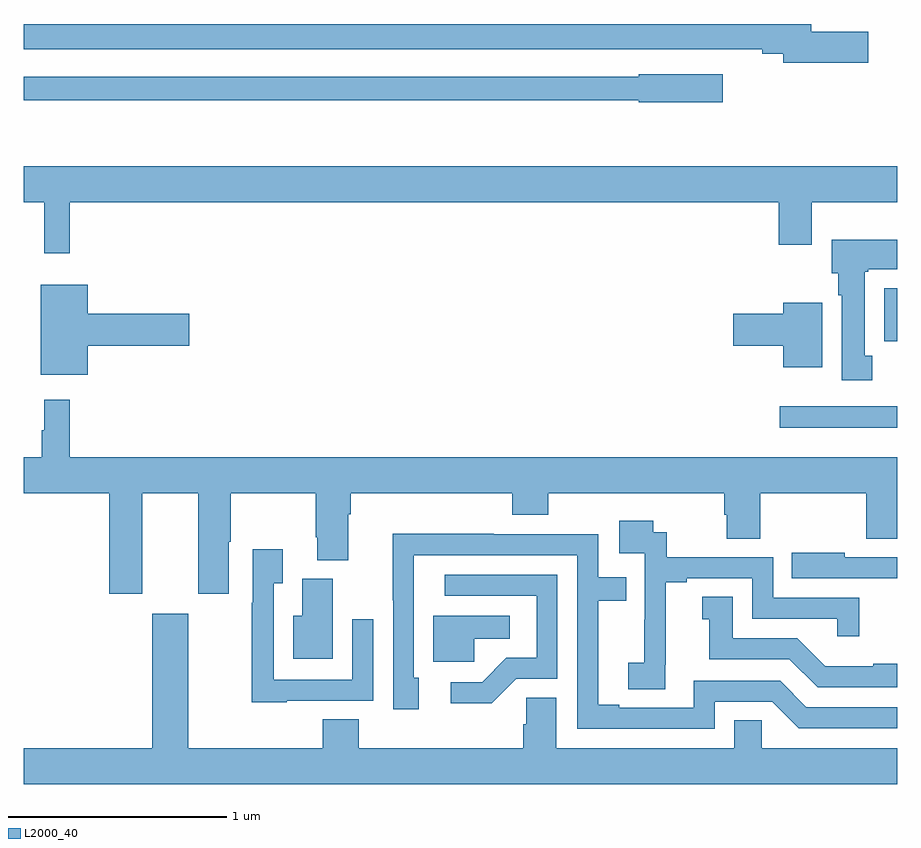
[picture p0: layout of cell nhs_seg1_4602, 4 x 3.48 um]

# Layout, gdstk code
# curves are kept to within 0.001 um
import gdstk
lib = gdstk.Library(unit=1e-6, precision=1e-09)
def R(c, l, rs):  # rectangles x0, y0, x1, y1
    for r in rs: c.add(gdstk.rectangle(r[:2], r[2:], *l))
def P(c, l, *ps):  # polygons
    for p in ps: c.add(gdstk.Polygon(p, *l))
L2000_40 = (2000, 40)

nhs_seg1_4602 = lib.new_cell('nhs_seg1_4602')
R(nhs_seg1_4602, L2000_40, [(364.461,528.056,365,528.153), (364.94,528.452,365,528.694)])
P(nhs_seg1_4602, L2000_40, [(364.867,529.868),(364.606,529.868),(364.606,529.904),(361,529.904),(361,529.788),(364.382,529.788),(364.382,529.768),(364.478,529.768),(364.478,529.726),(364.867,529.726)],
  [(364.201,529.675),(363.816,529.675),(363.816,529.662),(361,529.662),(361,529.554),(363.816,529.554),(363.816,529.546),(364.201,529.546)],
  [(361.211,529.088),(364.457,529.088),(364.457,528.894),(364.609,528.894),(364.609,529.088),(365,529.088),(365,529.252),(361,529.252),(361,529.088),(361.094,529.088),(361.094,528.855),(361.211,528.855)],
  [(364.885,528.386),(364.852,528.386),(364.852,528.769),(364.866,528.769),(364.866,528.782),(365,528.782),(365,528.916),(364.7,528.916),(364.7,528.762),(364.73,528.762),(364.73,528.662),(364.745,528.662),(364.745,528.273),(364.885,528.273)],
  [(361.294,528.431),(361.759,528.431),(361.759,528.578),(361.294,528.578),(361.294,528.709),(361.079,528.709),(361.079,528.299),(361.294,528.299)],
  [(364.657,528.628),(364.478,528.628),(364.478,528.578),(364.248,528.578),(364.248,528.431),(364.478,528.431),(364.478,528.332),(364.657,528.332)],
  [(361.543,527.756),(361.799,527.756),(361.799,527.295),(361.939,527.295),(361.939,527.534),(361.947,527.534),(361.947,527.756),(362.338,527.756),(362.338,527.554),(362.345,527.554),(362.345,527.449),(362.485,527.449),(362.485,527.66),(362.498,527.66),(362.498,527.756),(363.236,527.756),(363.236,527.657),(363.401,527.657),(363.401,527.756),(364.208,527.756),(364.208,527.658),(364.22,527.658),(364.22,527.548),(364.373,527.548),(364.373,527.756),(364.859,527.756),(364.859,527.548),(365,527.548),(365,527.92),(361.211,527.92),(361.211,528.184),(361.094,528.184),(361.094,528.044),(361.083,528.044),(361.083,527.92),(361,527.92),(361,527.756),(361.391,527.756),(361.391,527.295),(361.543,527.295)],
  [(363.938,526.969),(363.94,526.969),(363.94,527.347),(364.036,527.347),(364.036,527.367),(364.335,527.367),(364.335,527.181),(364.725,527.181),(364.725,527.1),(364.826,527.1),(364.826,527.277),(364.431,527.277),(364.431,527.463),(363.944,527.463),(363.944,527.577),(363.882,527.577),(363.882,527.629),(363.726,527.629),(363.726,527.481),(363.843,527.481),(363.843,527.177),(363.842,527.177),(363.842,526.98),(363.768,526.98),(363.768,526.858),(363.938,526.858)],
  [(364.164,526.8),(364.428,526.8),(364.548,526.68),(365,526.68),(365,526.776),(364.584,526.776),(364.464,526.896),(364.068,526.896),(364.068,526.773),(363.727,526.773),(363.727,526.788),(363.631,526.788),(363.631,527.262),(363.758,527.262),(363.758,527.37),(363.63,527.37),(363.63,527.568),(363.152,527.568),(363.152,527.57),(362.69,527.57),(362.691,526.767),(362.809,526.767),(362.809,526.911),(362.787,526.911),(362.787,527.472),(363.534,527.472),(363.534,526.677),(364.164,526.677)],
  [(362.205,526.806),(362.601,526.806),(362.601,527.179),(362.505,527.179),(362.505,526.902),(362.145,526.902),(362.145,527.344),(362.185,527.344),(362.185,527.5),(362.049,527.5),(362.049,527.255),(362.044,527.255),(362.044,526.799),(362.205,526.799)],
  [(365,527.463),(364.759,527.463),(364.759,527.482),(364.516,527.482),(364.516,527.367),(365,527.367)],
  [(363.255,526.905),(363.444,526.905),(363.444,527.382),(362.928,527.382),(362.928,527.286),(363.348,527.286),(363.348,527.001),(363.21,527.001),(363.099,526.89),(362.955,526.89),(362.955,526.793),(363.142,526.793)],
  [(362.416,527.364),(362.276,527.364),(362.276,527.194),(362.234,527.194),(362.234,526.997),(362.416,526.997)],
  [(365,526.975),(364.889,526.975),(364.889,526.963),(364.67,526.963),(364.542,527.091),(364.246,527.091),(364.246,527.282),(364.106,527.282),(364.106,527.179),(364.139,527.179),(364.139,526.995),(364.506,526.995),(364.635,526.866),(365,526.866)],
  [(365,526.588),(364.38,526.588),(364.38,526.715),(364.253,526.715),(364.253,526.588),(363.439,526.588),(363.439,526.82),(363.3,526.82),(363.3,526.697),(363.287,526.697),(363.287,526.588),(362.534,526.588),(362.534,526.721),(362.369,526.721),(362.369,526.588),(361.753,526.588),(361.753,527.203),(361.589,527.203),(361.589,526.588),(361,526.588),(361,526.424),(365,526.424)],
  [(363.063,527.09),(363.226,527.09),(363.226,527.194),(362.876,527.194),(362.876,526.983),(363.063,526.983)])

lib.write_gds('nhs_seg1_4602.gds')
